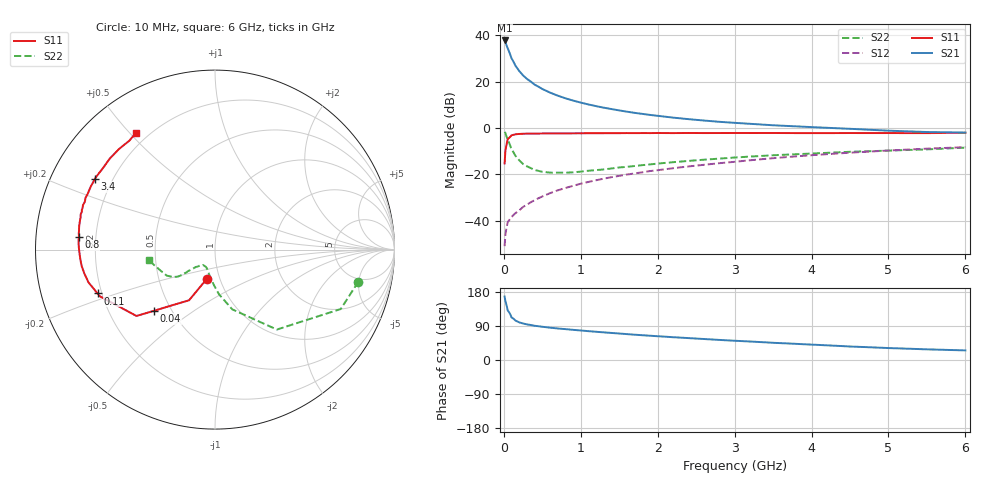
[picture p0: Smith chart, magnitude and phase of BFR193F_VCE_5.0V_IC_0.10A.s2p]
! Infineon Technologies  Discrete & RF Semiconductors
! BFR193F
! VCE =  5.0 V,  IC = 0.10 A
! Common Emitter S-Parameters:  Jan 2017
# GHz  S  MA  R  50
!  f  S11  S21  S12  S22
! GHz  MAG  ANG  MAG  ANG  MAG  ANG  MAG  ANG
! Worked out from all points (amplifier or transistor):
!   77 points, 10 MHz to 6 GHz, reference 50 ohm
!   highest |S21| = 37.8 dB at 10 MHz (marker M1)
!   |S21| within 3 dB of that: start of sweep to 45.39 MHz
!   unconditionally stable (mu >= 1): 394.8 MHz to 2.826 GHz
!   at 130 MHz: K = 0.68, MSG = 32.9 dB, |S12| = -37.5 dB
!   at 2.2 GHz: K = 1.04, MAG = 9.6 dB, |S12| = -17.4 dB
!   at 6 GHz: K = 0.88, MSG = 3.1 dB, |S12| = -8.3 dB
!   S11 on the Smith chart (normalised r, x): 10 MHz: 0.86, -0.29; 40 MHz: 0.40, -0.36; 110 MHz: 0.18, -0.17; 800 MHz: 0.14, +0.04; 3.4 GHz: 0.14, +0.27; 6 GHz: 0.15, +0.52
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0.01  0.1711 -105.9  77.21 167.5  0.0028 80.6  0.8185 -12.6
0.02  0.3171 -117.1  72.4 155.2  0.0049 66.0  0.7749 -25.3
0.04  0.4812 -134.9  57.65 140.7  0.0077 58.4  0.6169 -41.3
0.05  0.573 -139.8  52.22 130.7  0.0091 56.4  0.5632 -52.3
0.1  0.6918 -157.9  31.71 112.2  0.0119 53.1  0.3471 -73.8
0.11  0.6981 -159.5  29.77 111.0  0.0124 53.4  0.327 -75.5
0.15  0.7283 -165.5  22.17 104.2  0.0144 54.3  0.2507 -84.8
0.2  0.7405 -169.8  16.89 99.3  0.0166 58.7  0.2001 -91.4
0.25  0.7484 -173.0  13.6 96.3  0.0197 62.5  0.1661 -97.3
0.3  0.7513 -175.1  11.43 93.9  0.0221 64.8  0.1482 -101.7
0.4  0.7549 -178.1  8.603 90.3  0.0276 68.9  0.1238 -108.7
0.5  0.7578 179.8  6.919 87.7  0.0331 71.6  0.1128 -114.2
0.6  0.7605 177.7  5.786 85.3  0.039 72.9  0.1083 -118.9
0.8  0.7612 174.8  4.36 81.5  0.0504 75.6  0.1079 -125.9
1.1  0.7674 170.7  3.206 76.1  0.0682 76.8  0.119 -131.5
1.6  0.7739 165.2  2.24 68.3  0.0983 77.6  0.1445 -137.9
2.1  0.7744 160.7  1.745 61.5  0.1284 76.9  0.1758 -140.4
3.1  0.7758 152.1  1.256 49.8  0.1927 74.5  0.2349 -142.6
3.4  0.776 149.5  1.168 46.6  0.2146 73.3  0.2512 -143.7
4.1  0.7722 142.9  1.023 39.7  0.2642 69.9  0.2845 -147.9
5.1  0.7736 132.5  0.86 30.9  0.3311 63.4  0.3275 -159.7
6  0.7853 124.0  0.793 25.3  0.3842 57.3  0.3749 -171.0
